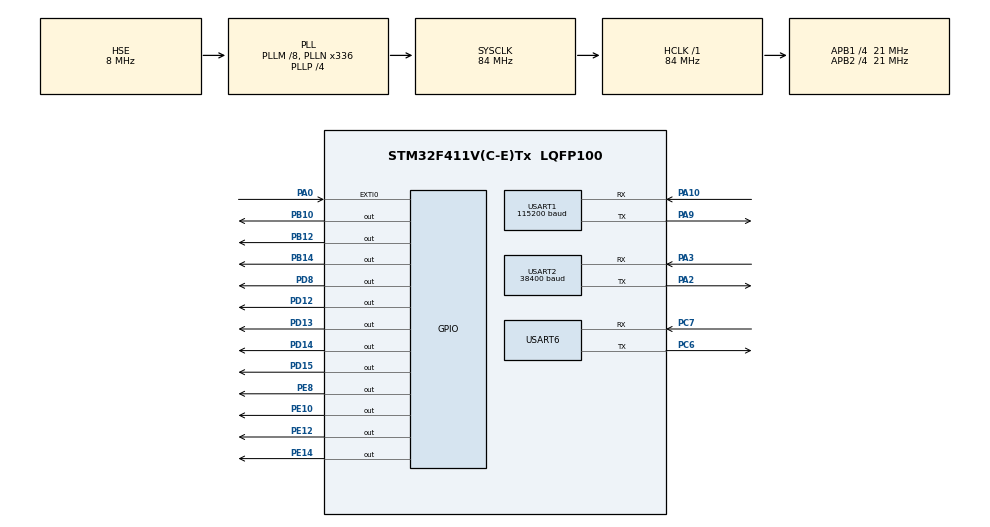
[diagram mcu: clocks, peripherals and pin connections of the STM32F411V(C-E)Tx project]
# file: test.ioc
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Dma.Request0=USART2_RX
Dma.Request1=USART2_TX
Dma.Request2=USART1_RX
Dma.Request3=USART6_RX
Dma.USART1_RX.2.Direction=DMA_PERIPH_TO_MEMORY
Dma.USART1_RX.2.FIFOMode=DMA_FIFOMODE_DISABLE
Dma.USART1_RX.2.Instance=DMA2_Stream2
Dma.USART1_RX.2.MemDataAlignment=DMA_MDATAALIGN_BYTE
Dma.USART1_RX.2.MemInc=DMA_MINC_ENABLE
Dma.USART1_RX.2.Mode=DMA_NORMAL
Dma.USART1_RX.2.PeriphDataAlignment=DMA_PDATAALIGN_BYTE
Dma.USART1_RX.2.PeriphInc=DMA_PINC_DISABLE
Dma.USART1_RX.2.Priority=DMA_PRIORITY_LOW
Dma.USART2_RX.0.Direction=DMA_PERIPH_TO_MEMORY
Dma.USART2_RX.0.FIFOMode=DMA_FIFOMODE_DISABLE
Dma.USART2_RX.0.Instance=DMA1_Stream5
Dma.USART2_RX.0.MemDataAlignment=DMA_MDATAALIGN_BYTE
Dma.USART2_RX.0.MemInc=DMA_MINC_ENABLE
Dma.USART2_RX.0.Mode=DMA_CIRCULAR
Dma.USART2_RX.0.PeriphDataAlignment=DMA_PDATAALIGN_BYTE
Dma.USART2_RX.0.PeriphInc=DMA_PINC_DISABLE
Dma.USART2_RX.0.Priority=DMA_PRIORITY_MEDIUM
Dma.USART2_TX.1.Direction=DMA_MEMORY_TO_PERIPH
Dma.USART2_TX.1.FIFOMode=DMA_FIFOMODE_DISABLE
Dma.USART2_TX.1.Instance=DMA1_Stream6
Dma.USART2_TX.1.MemDataAlignment=DMA_MDATAALIGN_BYTE
Dma.USART2_TX.1.MemInc=DMA_MINC_ENABLE
Dma.USART2_TX.1.Mode=DMA_CIRCULAR
Dma.USART2_TX.1.PeriphDataAlignment=DMA_PDATAALIGN_BYTE
Dma.USART2_TX.1.PeriphInc=DMA_PINC_DISABLE
Dma.USART2_TX.1.Priority=DMA_PRIORITY_LOW
Dma.USART6_RX.3.Direction=DMA_PERIPH_TO_MEMORY
Dma.USART6_RX.3.FIFOMode=DMA_FIFOMODE_DISABLE
Dma.USART6_RX.3.Instance=DMA2_Stream1
Dma.USART6_RX.3.MemDataAlignment=DMA_MDATAALIGN_BYTE
Dma.USART6_RX.3.MemInc=DMA_MINC_ENABLE
Dma.USART6_RX.3.Mode=DMA_NORMAL
Dma.USART6_RX.3.PeriphDataAlignment=DMA_PDATAALIGN_BYTE
Dma.USART6_RX.3.PeriphInc=DMA_PINC_DISABLE
Dma.USART6_RX.3.Priority=DMA_PRIORITY_LOW
Mcu.Family=STM32F4
Mcu.Name=STM32F411V(C-E)Tx
Mcu.Package=LQFP100
NVIC.DMA1_Stream5_IRQn=true\:0\:0\:false\:false\:true\:false
NVIC.DMA1_Stream6_IRQn=true\:0\:0\:false\:false\:true\:false
NVIC.DMA2_Stream1_IRQn=true\:0\:0\:false\:false\:true\:false
NVIC.DMA2_Stream2_IRQn=true\:0\:0\:false\:false\:true\:false
NVIC.EXTI0_IRQn=true\:0\:0\:false\:false\:true\:true
NVIC.PriorityGroup=NVIC_PRIORITYGROUP_4
NVIC.TIM2_IRQn=true\:0\:0\:false\:false\:true\:true
NVIC.USART1_IRQn=true\:0\:0\:false\:false\:true\:true
NVIC.USART2_IRQn=true\:0\:0\:false\:false\:true\:true
NVIC.USART6_IRQn=true\:0\:0\:false\:false\:true\:true
PA0-WKUP.Signal=GPXTI0
PA10.Mode=Asynchronous
PA10.Signal=USART1_RX
PA2.Mode=Asynchronous
PA2.Signal=USART2_TX
PA3.Mode=Asynchronous
PA3.Signal=USART2_RX
PA9.Mode=Asynchronous
PA9.Signal=USART1_TX
PB10.Signal=GPIO_Output
PB12.Signal=GPIO_Output
PB14.Signal=GPIO_Output
PC6.Mode=Asynchronous
PC6.Signal=USART6_TX
PC7.Mode=Asynchronous
PC7.Signal=USART6_RX
PD12.Signal=GPIO_Output
PD13.Signal=GPIO_Output
PD14.Signal=GPIO_Output
PD15.Signal=GPIO_Output
PD8.Signal=GPIO_Output
PE10.Signal=GPIO_Output
PE12.Signal=GPIO_Output
PE14.Signal=GPIO_Output
PE8.Signal=GPIO_Output
PH0\ -\ OSC_IN.Mode=HSE-External-Oscillator
PH0\ -\ OSC_IN.Signal=RCC_OSC_IN
PH1\ -\ OSC_OUT.Mode=HSE-External-Oscillator
PH1\ -\ OSC_OUT.Signal=RCC_OSC_OUT
ProjectManager.HeapSize=0x200
ProjectManager.StackSize=0x400
ProjectManager.TargetToolchain=MDK-ARM V5
RCC.48MHZClocksFreq_Value=84000000
RCC.AHBFreq_Value=84000000
RCC.APB1CLKDivider=RCC_HCLK_DIV4
RCC.APB1Freq_Value=21000000
RCC.APB1TimFreq_Value=42000000
RCC.APB2CLKDivider=RCC_HCLK_DIV4
RCC.APB2Freq_Value=21000000
RCC.APB2TimFreq_Value=42000000
RCC.CortexFreq_Value=84000000
RCC.HCLKFreq_Value=84000000
RCC.HSE_VALUE=8000000
RCC.HSI_VALUE=16000000
RCC.LSE_VALUE=32768
RCC.PLLM=8
RCC.PLLN=336
RCC.PLLP=RCC_PLLP_DIV4
RCC.PLLSourceVirtual=RCC_PLLSOURCE_HSE
RCC.SYSCLKFreq_VALUE=84000000
RCC.SYSCLKSource=RCC_SYSCLKSOURCE_PLLCLK
RCC.VCOOutputFreq_Value=336000000
TIM2.Period=1399
TIM2.Prescaler=59999
USART1.BaudRate=115200
USART1.VirtualMode=VM_ASYNC
USART2.BaudRate=38400
USART2.VirtualMode=VM_ASYNC
USART6.VirtualMode=VM_ASYNC
VP_TIM2_VS_ClockSourceINT.Mode=Internal
board=custom

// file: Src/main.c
/**
  ******************************************************************************
  * @file           : main.c
  * @brief          : Main program body
  ******************************************************************************
  ** This notice applies to any and all portions of this file
  * that are not between comment pairs USER CODE BEGIN and
  * USER CODE END. Other portions of this file, whether
  * inserted by the user or by software development tools
  * are owned by their respective copyright owners.
  *
  * COPYRIGHT(c) 2019 STMicroelectronics
  *
  * Redistribution and use in source and binary forms, with or without modification,
  * are permitted provided that the following conditions are met:
  *   1. Redistributions of source code must retain the above copyright notice,
  *      this list of conditions and the following disclaimer.
  *   2. Redistributions in binary form must reproduce the above copyright notice,
  *      this list of conditions and the following disclaimer in the documentation
  *      and/or other materials provided with the distribution.
  *   3. Neither the name of STMicroelectronics nor the names of its contributors
  *      may be used to endorse or promote products derived from this software
  *      without specific prior written permission.
  *
  * THIS SOFTWARE IS PROVIDED BY THE COPYRIGHT HOLDERS AND CONTRIBUTORS "AS IS"
  * AND ANY EXPRESS OR IMPLIED WARRANTIES, INCLUDING, BUT NOT LIMITED TO, THE
  * IMPLIED WARRANTIES OF MERCHANTABILITY AND FITNESS FOR A PARTICULAR PURPOSE ARE
  * DISCLAIMED. IN NO EVENT SHALL THE COPYRIGHT HOLDER OR CONTRIBUTORS BE LIABLE
  * FOR ANY DIRECT, INDIRECT, INCIDENTAL, SPECIAL, EXEMPLARY, OR CONSEQUENTIAL
  * DAMAGES (INCLUDING, BUT NOT LIMITED TO, PROCUREMENT OF SUBSTITUTE GOODS OR
  * SERVICES; LOSS OF USE, DATA, OR PROFITS; OR BUSINESS INTERRUPTION) HOWEVER
  * CAUSED AND ON ANY THEORY OF LIABILITY, WHETHER IN CONTRACT, STRICT LIABILITY,
  * OR TORT (INCLUDING NEGLIGENCE OR OTHERWISE) ARISING IN ANY WAY OUT OF THE USE
  * OF THIS SOFTWARE, EVEN IF ADVISED OF THE POSSIBILITY OF SUCH DAMAGE.
  *
  ******************************************************************************
  */
#include "main.h"
#include "stm32f4xx_hal.h"

/* USER CODE BEGIN Includes */

#include <stdbool.h>
#include "stdio.h"
#include <stdlib.h>
#include <stdint.h>
#include <math.h>
#include <string.h>
/* USER CODE END Includes */

TIM_HandleTypeDef htim2;

UART_HandleTypeDef huart1;
UART_HandleTypeDef huart2;
UART_HandleTypeDef huart6;
DMA_HandleTypeDef hdma_usart1_rx;
DMA_HandleTypeDef hdma_usart2_rx;
DMA_HandleTypeDef hdma_usart2_tx;
DMA_HandleTypeDef hdma_usart6_rx;

/* USER CODE BEGIN PV */
/* Private variables ---------------------------------------------------------*/
uint16_t vtZ=0,vtG=0,vtG_all=0;
bool volatile Ispressed=false,IsOntime=false, IsAutoMode;
uint8_t send_data=42,receive_dataZ,receive_dataG;
char receiveZ[10000],receiveG[10000],send[10000],receiveG_all[10000],data_server_R[10000],data_server_T[10000],stt_RL[11],thres[30];
/* USER CODE END PV */

void SystemClock_Config(void);
static void MX_GPIO_Init(void);
static void MX_DMA_Init(void);
static void MX_USART2_UART_Init(void);
static void MX_TIM2_Init(void);
static void MX_USART1_UART_Init(void);
static void MX_USART6_UART_Init(void);

/* USER CODE BEGIN PFP */
/* Private function prototypes -----------------------------------------------*/
bool Init_GPRS(__IO uint32_t milis);
bool Get_Method(char url[],char data[],__IO uint32_t milis);
bool Post_Method(char url[],char data[],__IO uint32_t milis);
bool Connect_Server(__IO uint32_t milis);
bool Disconnect_Server(__IO uint32_t milis);
bool Check_str(char a[],char b[], uint16_t v);
bool Cmp_str(char a[],char b[],char stt[]);
bool Cmp_str2(char a[],char b[]);
bool get_Zigbee(char zigbee[],char data[],__IO uint32_t milis);
void Check_Thres(char value[],char thres[],char stt[]);
void Ctrl_RL(char stt[]);
void Error (int msg);
int error_msg=0;
int _Split(char str[],char a,float des[]);
void mem_clear(char a[],char value,int i);
void Getvalue( char a[],char b[]);
/* USER CODE END PFP */

/* USER CODE BEGIN 0 */
void Getvalue(char a[],char b[])
{
	int i=0;
	while(a[i]!='\r')
	{
		b[i] = a[i];
		i++;
	}
	b[i]=0;
}
void Error (int msg)
{
	switch(msg)
	{
		case 1: default:
			Disconnect_Server(500);
		case 2:		case 3:
			Connect_Server(500);
			break;
	}
}
bool Check_str(char a[],char b[], uint16_t v)
{
		for (int i = strlen(b); i > 0; i--)
		{
				if ( a[v-strlen(b)+i-1] != b[i-1]) return false;
		}

		return true;
}
bool Cmp_str(char a[],char b[],char stt[])
{
	bool Isok=false;
	int vt_b=0,vt_stt=0;
	for (int i = 0; i < strlen(a); i++)
		{
				if ( a[i] == b[vt_b]) vt_b++;
				else vt_b=0;
			if (vt_b==strlen(b)) Isok = true;
			if (Isok)
			{
				if(a[i+1]=='\r' && a[i+3]==0) return true;
				stt[vt_stt] = a[i+1];
				vt_stt ++;
			}
		}
	if(Isok) return true;
		else return false;
}
bool Cmp_str2(char a[],char b[])
{
	int vt_b=0,vt_stt=0;
	for (int i = 0; i < strlen(a); i++)
		{
				if ( a[i] == b[vt_b]) vt_b++;
				else vt_b=0;
			if (vt_b==strlen(b)) return true;
		}
	return false;
}
bool Init_GPRS(__IO uint32_t milis)
{
			milis *= (SystemCoreClock / 1000) / 9;
			uint32_t milis_tmp=milis;
			strcpy(send,"AT\r\n");
 	    HAL_UART_Transmit_IT(&huart6,send,strlen(send));
			while (milis--)
			{
				if (Check_str(receiveG,"\r\nOK\r\n",vtG)) break;
				else if (Cmp_str2(receiveG,"ERROR")) {return false;}
//				else if (Cmp_str2(receiveG,"+CME ERROR:50")) {error_msg=1; return false;}
//				else if (Cmp_str2(receiveG,"+CME ERROR:53")) {error_msg=2; return false;}
//				else if (Cmp_str2(receiveG,"+CME ERROR:58")) {error_msg=3; return false;}
			}
			milis=milis_tmp;
			mem_clear(receiveG, 0, 300);
			vtG=0;
			strcpy(send,"ATE0\r\n");
			HAL_UART_Transmit_IT(&huart6,send,strlen(send));
			while (milis--)
			{
				if (Check_str(receiveG,"\r\nOK\r\n",vtG)) break;
			}
			if(++milis<=0) return false;
			mem_clear(receiveG, 0, 300);
			vtG=0;
			return true;
}
bool Connect_Server(__IO uint32_t milis)
{
			milis *= (SystemCoreClock / 1000) / 9;
			strcpy(send,"AT+CIPSTART=\"TCP\",\"1413264.somee.com\",80\r\n");
  	  HAL_UART_Transmit_IT(&huart6,send,strlen(send));
			while (milis--)
			{
				if (Check_str(receiveG,"\r\nOK\r\n",vtG)) break;
				else if (Cmp_str2(receiveG,"ERROR")) {return false;}
			}
			if(++milis<=0) return false;
				mem_clear(receiveG, 0, 300);
				vtG=0;
					HAL_GPIO_WritePin(GPIOD,GPIO_PIN_12,GPIO_PIN_SET);
				return true;
}
bool Disconnect_Server(__IO uint32_t milis)
{
	HAL_GPIO_WritePin(GPIOD,GPIO_PIN_12,GPIO_PIN_RESET);
			milis *= (SystemCoreClock / 1000) / 9;
			strcpy(send,"AT+CIPSHUT\r\n");
  	  HAL_UART_Transmit_IT(&huart6,send,strlen(send));
			while (milis--)
			{
				if (Check_str(receiveG,"\r\nOK\r\n",vtG)) break;
				else if (Cmp_str2(receiveG,"ERROR")) {return false;}
			}
			if(++milis<=0) return false;
			mem_clear(receiveG, 0, 300);
			vtG=0;
			return true;
}
bool Get_Method(char url[],char data[],__IO uint32_t milis)
{
			milis *= (SystemCoreClock / 1000) / 9;
			uint32_t milis_tmp=milis;
			char tmp[200];
			strcpy(tmp," HTTP/1.1\r\nHost: 1413264.somee.com\r\nConnection: Keep-Alive\r\n\r\n\x1A");
		//	strcpy(receiveG_all,"");
	    //vtG_all=0;
			strcpy(send,"AT+CIPSEND\r\n");
  	  HAL_UART_Transmit_IT(&huart6,send,strlen(send));
			while (milis--)
			{
				if (Check_str(receiveG,"> ",vtG)) break;
				else if (Cmp_str2(receiveG,"ERROR")) {return false;}
			}
			if(++milis<=0) return false;
			milis=milis_tmp;
			mem_clear(receiveG, 0, 300);
			vtG=0;
			strcpy(send,"GET ");
			strcat(send,url);
//			strcat(send,"?");
//			strcat(send,data);
			strcat(send,tmp);
			HAL_UART_Transmit_IT(&huart6,send,strlen(send));
			 int vtG_old=0;
			while (milis--)
			{
				if (Cmp_str2(receiveG,"Content-Length: ")) break;
				else if (Cmp_str2(receiveG,"ERROR")) {return false;}
			}
			if(++milis<=0) return false;
			HAL_Delay(5);
			strcpy(data,receiveG);
			mem_clear(receiveG, 0, 300);
			vtG=0;
			return true;
}
bool Post_Method(char url[],char data[],__IO uint32_t milis)
{
			milis *= (SystemCoreClock / 1000) / 9;
			uint32_t milis_tmp=milis;
			char tmp[200];
			strcpy(tmp," HTTP/1.1\r\nHost: 1413264.somee.com\r\nContent-Type: application/x-www-form-urlencoded\r\nConnection: Keep-Alive\r\nContent-Length: ");
			mem_clear(receiveG, 0, 500);
	    vtG=0;
			strcpy(send,"AT+CIPSEND\r\n");
  	  HAL_UART_Transmit_IT(&huart6,send,strlen(send));
			while (milis--)
			{
				if (Check_str(receiveG,"> ",vtG)) break;
				else if (Cmp_str2(receiveG,"ERROR")) {return false;}
			}
			if(++milis<=0) return false;
			milis=milis_tmp;
			mem_clear(receiveG, 0, 500);
			vtG=0;
			strcpy(send,"POST ");
			strcat(send,url);
//			strcat(send,"?");
//			strcat(send,data);
			strcat(send,tmp);
			sprintf(tmp,"%d\r\n\r\n",strlen(data)+4);
			strcat(send,tmp);
			strcat(send,"msg=");
			strcat(send,data);
			strcat(send,"\r\n\x1A");
			HAL_UART_Transmit_IT(&huart6,send,strlen(send));
			while (milis--)
			{
				if (Check_str(receiveG,"\r\n\r\n",vtG)) break;
				else if (Cmp_str2(receiveG,"ERROR")) {return false;}
			}
			if(++milis<=0) return false;
			milis=milis_tmp;

			strcpy(data,receiveG);
			mem_clear(receiveG, 0, 300);
			vtG=0;
	    vtG_all=0;
			return true;
}
int _Split(char str[],char a,float des[])
{
	int vt_des=0,div=1;
	float tmp=0;
	bool Ismul=true;
	for (int i = 0;i<strlen(str);i++)
	{
		if (str[i]==a )
		{
			des[vt_des++]=tmp;
			div=1;
			tmp=0;
		}
		else if(str[i]=='.')
		{
			Ismul=false;
		}
		else
		{
			if(!Ismul)
			{
					div*=10;
				tmp += (float)(str[i]-48)/div;
			}
			else
			{
			tmp=tmp*10+(float)(str[i]-48);
			}
		}
	}
	des[vt_des++]=tmp;
	return vt_des;
}
void Check_Thres(char value[],char thres[],char stt[])
{
	float vl[10];
	float	thrs[10];
	int n;
	n=_Split(value,'@',vl);
	_Split(thres,0x20,thrs);
	for (int i = 0; i<n; i++)
	{
		if (vl[i]<thrs[i]) stt[2*i]='0';
		else stt[2*i]='1';
		if (i<n-1) stt[2*i+1]=0x20;
	}
}
void Ctrl_RL(char stt[])
{
	if (stt[0] == '1')  {RL1_ON;}
	else {RL1_OFF;}
	if (stt[2] == '1')  {RL2_ON;}
	else {RL2_OFF;}
	if (stt[4] == '1')  {RL3_ON;}
	else {RL3_OFF;}
	if (stt[6] == '1')  {RL4_ON;}
	else {RL4_OFF;}
	if (stt[8] == '1') { RL5_ON;}
	else {RL5_OFF;}
	if (stt[10] == '1')  {RL6_ON;}
	else {RL6_OFF;}
//	if (stt[11] == '1') { RL7_ON;}
//	else {RL7_OFF;}
//	if (stt[12] == '1') {RL8_ON;}
//	else {RL8_OFF;}
}
void mem_clear(char a[],char value,int i)
{
	for (int j=0; j< i; j++)
	{
		a[j]=value;
	}
}
bool get_Zigbee(char zigbee[],char data[],__IO uint32_t milis)
{
	milis *= (SystemCoreClock / 1000) / 9;
	HAL_UART_Transmit_IT(&huart2,zigbee,2);
			while (milis--)
			{
				if( Check_str(receiveZ,"\r\n",vtZ)) break;
			}
			if (++milis<=0){return false;}
			milis=50;
			milis *= (SystemCoreClock / 1000) / 9;
			Getvalue(receiveZ,data);
			mem_clear(receiveZ,0,100);
			vtZ=0;
			return true;
}
/* USER CODE END 0 */

int main(void)
	{

  /* MCU Configuration----------------------------------------------------------*/

  /* Reset of all peripherals, Initializes the Flash interface and the Systick. */
  HAL_Init();

  /* Configure the system clock */
  SystemClock_Config();

  /* Initialize all configured peripherals */
  MX_GPIO_Init();
  MX_DMA_Init();
  MX_USART2_UART_Init();
  MX_TIM2_Init();
  MX_USART1_UART_Init();
  MX_USART6_UART_Init();
  /* USER CODE BEGIN 2 */
	HAL_UART_Receive_DMA(&huart2,&receive_dataZ,1);
	HAL_UART_Receive_DMA(&huart6,&receive_dataG,1);
	HAL_TIM_Base_Start_IT(&htim2);
  /* USER CODE END 2 */

  /* Infinite loop */
  /* USER CODE BEGIN WHILE */

	while(Ispressed==false);
	HAL_Delay(1000);
	Init_GPRS(500);
	while(!Connect_Server(500))
	{
				HAL_Delay(100);
		Disconnect_Server(500);
		HAL_Delay(100);
	}
	__IO uint32_t milis=50;
	milis *= (SystemCoreClock / 1000) / 9;
  while (1)
  {

  /* USER CODE END WHILE */

  /* USER CODE BEGIN 3 */
		if(IsOntime)
		{
			IsOntime=false;
			strcpy(data_server_T,"");
			while (!Get_Method("/RL.txt",data_server_R,500))
			{
				HAL_Delay(100);
				Error(error_msg);
			}
			if (Cmp_str(data_server_R,"Manual ",stt_RL)) IsAutoMode = false;
			else IsAutoMode=true;
			mem_clear(data_server_R,0,400);
						HAL_Delay(50);
				while(!get_Zigbee("1@",data_server_T,50));
			//strcpy(receiveZ,"");
//			strcpy(send,"2@");
//			HAL_UART_Transmit_IT(&huart2,send,2);
//			while (!Check_str(receiveZ,"\r\n",vtZ));
//			vtZ=0;
//			strcpy(receiveZ,"");
			strcpy(receiveZ,"@25@500@0.5");

			strcat(data_server_T,receiveZ);
			mem_clear(receiveZ,0,100);
			vtZ=0;
			if (IsAutoMode)
			{
				while (!Get_Method("/TH.txt",data_server_R,500))
				{
					HAL_Delay(100);
					Error(error_msg);

				}
				Cmp_str(data_server_R,"Content-Length: ",thres);
				for (int i =0;i<strlen(thres);i++)
				{
					if ((i+6)>=strlen(thres)) thres[i]=0;
						thres[i]=thres[i+6];
				}
				Check_Thres(data_server_T,thres,stt_RL);
				Ctrl_RL(stt_RL);
				//strcpy(stt_RL,"1 1 0 0 1 1");
				strcat(data_server_T,"@Auto ");
				strcat(data_server_T,stt_RL);
				while(!Post_Method("/Home/CreateDataAll",data_server_T,500))
				{
					HAL_Delay(100);
					Error(error_msg);

				}
			}
			else
			{
				Ctrl_RL(stt_RL);
				while (!Post_Method("/Home/CreateData",data_server_T,500))
					{
					HAL_Delay(100);
					//Ctrl_RL(stt_RL);
					Error(error_msg);
				}
			}
		}
	}
  /* USER CODE END 3 */

}

void SystemClock_Config(void)
{

  RCC_OscInitTypeDef RCC_OscInitStruct;
  RCC_ClkInitTypeDef RCC_ClkInitStruct;

    /**Configure the main internal regulator output voltage
    */
  __HAL_RCC_PWR_CLK_ENABLE();

  __HAL_PWR_VOLTAGESCALING_CONFIG(PWR_REGULATOR_VOLTAGE_SCALE1);

    /**Initializes the CPU, AHB and APB busses clocks
    */
  RCC_OscInitStruct.OscillatorType = RCC_OSCILLATORTYPE_HSE;
  RCC_OscInitStruct.HSEState = RCC_HSE_ON;
  RCC_OscInitStruct.PLL.PLLState = RCC_PLL_ON;
  RCC_OscInitStruct.PLL.PLLSource = RCC_PLLSOURCE_HSE;
  RCC_OscInitStruct.PLL.PLLM = 8;
  RCC_OscInitStruct.PLL.PLLN = 336;
  RCC_OscInitStruct.PLL.PLLP = RCC_PLLP_DIV4;
  RCC_OscInitStruct.PLL.PLLQ = 4;
  if (HAL_RCC_OscConfig(&RCC_OscInitStruct) != HAL_OK)
  {
    _Error_Handler(__FILE__, __LINE__);
  }

    /**Initializes the CPU, AHB and APB busses clocks
    */
  RCC_ClkInitStruct.ClockType = RCC_CLOCKTYPE_HCLK|RCC_CLOCKTYPE_SYSCLK
                              |RCC_CLOCKTYPE_PCLK1|RCC_CLOCKTYPE_PCLK2;
  RCC_ClkInitStruct.SYSCLKSource = RCC_SYSCLKSOURCE_PLLCLK;
  RCC_ClkInitStruct.AHBCLKDivider = RCC_SYSCLK_DIV1;
  RCC_ClkInitStruct.APB1CLKDivider = RCC_HCLK_DIV4;
  RCC_ClkInitStruct.APB2CLKDivider = RCC_HCLK_DIV4;

  if (HAL_RCC_ClockConfig(&RCC_ClkInitStruct, FLASH_LATENCY_2) != HAL_OK)
  {
    _Error_Handler(__FILE__, __LINE__);
  }

    /**Configure the Systick interrupt time
    */
  HAL_SYSTICK_Config(HAL_RCC_GetHCLKFreq()/1000);

    /**Configure the Systick
    */
  HAL_SYSTICK_CLKSourceConfig(SYSTICK_CLKSOURCE_HCLK);

  /* SysTick_IRQn interrupt configuration */
  HAL_NVIC_SetPriority(SysTick_IRQn, 0, 0);
}

/* TIM2 init function */
static void MX_TIM2_Init(void)
{

  TIM_ClockConfigTypeDef sClockSourceConfig;
  TIM_MasterConfigTypeDef sMasterConfig;

  htim2.Instance = TIM2;
  htim2.Init.Prescaler = 59999;
  htim2.Init.CounterMode = TIM_COUNTERMODE_UP;
  htim2.Init.Period = 1399;
  htim2.Init.ClockDivision = TIM_CLOCKDIVISION_DIV1;
  if (HAL_TIM_Base_Init(&htim2) != HAL_OK)
  {
    _Error_Handler(__FILE__, __LINE__);
  }

  sClockSourceConfig.ClockSource = TIM_CLOCKSOURCE_INTERNAL;
  if (HAL_TIM_ConfigClockSource(&htim2, &sClockSourceConfig) != HAL_OK)
  {
    _Error_Handler(__FILE__, __LINE__);
  }

  sMasterConfig.MasterOutputTrigger = TIM_TRGO_RESET;
  sMasterConfig.MasterSlaveMode = TIM_MASTERSLAVEMODE_DISABLE;
  if (HAL_TIMEx_MasterConfigSynchronization(&htim2, &sMasterConfig) != HAL_OK)
  {
    _Error_Handler(__FILE__, __LINE__);
  }

}

/* USART1 init function */
static void MX_USART1_UART_Init(void)
{

  huart1.Instance = USART1;
  huart1.Init.BaudRate = 115200;
  huart1.Init.WordLength = UART_WORDLENGTH_8B;
  huart1.Init.StopBits = UART_STOPBITS_1;
  huart1.Init.Parity = UART_PARITY_NONE;
  huart1.Init.Mode = UART_MODE_TX_RX;
  huart1.Init.HwFlowCtl = UART_HWCONTROL_NONE;
  huart1.Init.OverSampling = UART_OVERSAMPLING_16;
  if (HAL_UART_Init(&huart1) != HAL_OK)
  {
    _Error_Handler(__FILE__, __LINE__);
  }

}

/* USART2 init function */
static void MX_USART2_UART_Init(void)
{

  huart2.Instance = USART2;
  huart2.Init.BaudRate = 38400;
  huart2.Init.WordLength = UART_WORDLENGTH_8B;
  huart2.Init.StopBits = UART_STOPBITS_1;
  huart2.Init.Parity = UART_PARITY_NONE;
  huart2.Init.Mode = UART_MODE_TX_RX;
  huart2.Init.HwFlowCtl = UART_HWCONTROL_NONE;
  huart2.Init.OverSampling = UART_OVERSAMPLING_16;
  if (HAL_UART_Init(&huart2) != HAL_OK)
  {
    _Error_Handler(__FILE__, __LINE__);
  }

}

/* USART6 init function */
static void MX_USART6_UART_Init(void)
{

  huart6.Instance = USART6;
  huart6.Init.BaudRate = 115200;
  huart6.Init.WordLength = UART_WORDLENGTH_8B;
  huart6.Init.StopBits = UART_STOPBITS_1;
  huart6.Init.Parity = UART_PARITY_NONE;
  huart6.Init.Mode = UART_MODE_TX_RX;
  huart6.Init.HwFlowCtl = UART_HWCONTROL_NONE;
  huart6.Init.OverSampling = UART_OVERSAMPLING_16;
  if (HAL_UART_Init(&huart6) != HAL_OK)
  {
    _Error_Handler(__FILE__, __LINE__);
  }

}

static void MX_DMA_Init(void)
{
  /* DMA controller clock enable */
  __HAL_RCC_DMA1_CLK_ENABLE();
  __HAL_RCC_DMA2_CLK_ENABLE();

  /* DMA interrupt init */
  /* DMA1_Stream5_IRQn interrupt configuration */
  HAL_NVIC_SetPriority(DMA1_Stream5_IRQn, 0, 0);
  HAL_NVIC_EnableIRQ(DMA1_Stream5_IRQn);
  /* DMA1_Stream6_IRQn interrupt configuration */
  HAL_NVIC_SetPriority(DMA1_Stream6_IRQn, 0, 0);
  HAL_NVIC_EnableIRQ(DMA1_Stream6_IRQn);
  /* DMA2_Stream1_IRQn interrupt configuration */
  HAL_NVIC_SetPriority(DMA2_Stream1_IRQn, 0, 0);
  HAL_NVIC_EnableIRQ(DMA2_Stream1_IRQn);
  /* DMA2_Stream2_IRQn interrupt configuration */
  HAL_NVIC_SetPriority(DMA2_Stream2_IRQn, 0, 0);
  HAL_NVIC_EnableIRQ(DMA2_Stream2_IRQn);

}

/** Configure pins as
        * Analog
        * Input
        * Output
        * EVENT_OUT
        * EXTI
*/
static void MX_GPIO_Init(void)
{

  GPIO_InitTypeDef GPIO_InitStruct;

  /* GPIO Ports Clock Enable */
  __HAL_RCC_GPIOH_CLK_ENABLE();
  __HAL_RCC_GPIOA_CLK_ENABLE();
  __HAL_RCC_GPIOE_CLK_ENABLE();
  __HAL_RCC_GPIOB_CLK_ENABLE();
  __HAL_RCC_GPIOD_CLK_ENABLE();
  __HAL_RCC_GPIOC_CLK_ENABLE();

  /*Configure GPIO pin Output Level */
  HAL_GPIO_WritePin(GPIOE, GPIO_PIN_8|GPIO_PIN_10|GPIO_PIN_12|GPIO_PIN_14, GPIO_PIN_RESET);

  /*Configure GPIO pin Output Level */
  HAL_GPIO_WritePin(GPIOB, GPIO_PIN_10|GPIO_PIN_12|GPIO_PIN_14, GPIO_PIN_RESET);

  /*Configure GPIO pin Output Level */
  HAL_GPIO_WritePin(GPIOD, GPIO_PIN_8|GPIO_PIN_12|GPIO_PIN_13|GPIO_PIN_14
                          |GPIO_PIN_15, GPIO_PIN_RESET);

  /*Configure GPIO pin : PA0 */
  GPIO_InitStruct.Pin = GPIO_PIN_0;
  GPIO_InitStruct.Mode = GPIO_MODE_IT_RISING;
  GPIO_InitStruct.Pull = GPIO_NOPULL;
  HAL_GPIO_Init(GPIOA, &GPIO_InitStruct);

  /*Configure GPIO pins : PE8 PE10 PE12 PE14 */
  GPIO_InitStruct.Pin = GPIO_PIN_8|GPIO_PIN_10|GPIO_PIN_12|GPIO_PIN_14;
  GPIO_InitStruct.Mode = GPIO_MODE_OUTPUT_PP;
  GPIO_InitStruct.Pull = GPIO_NOPULL;
  GPIO_InitStruct.Speed = GPIO_SPEED_FREQ_LOW;
  HAL_GPIO_Init(GPIOE, &GPIO_InitStruct);

  /*Configure GPIO pins : PB10 PB12 PB14 */
  GPIO_InitStruct.Pin = GPIO_PIN_10|GPIO_PIN_12|GPIO_PIN_14;
  GPIO_InitStruct.Mode = GPIO_MODE_OUTPUT_PP;
  GPIO_InitStruct.Pull = GPIO_NOPULL;
  GPIO_InitStruct.Speed = GPIO_SPEED_FREQ_LOW;
  HAL_GPIO_Init(GPIOB, &GPIO_InitStruct);

  /*Configure GPIO pins : PD8 PD12 PD13 PD14
                           PD15 */
  GPIO_InitStruct.Pin = GPIO_PIN_8|GPIO_PIN_12|GPIO_PIN_13|GPIO_PIN_14
                          |GPIO_PIN_15;
  GPIO_InitStruct.Mode = GPIO_MODE_OUTPUT_PP;
  GPIO_InitStruct.Pull = GPIO_NOPULL;
  GPIO_InitStruct.Speed = GPIO_SPEED_FREQ_LOW;
  HAL_GPIO_Init(GPIOD, &GPIO_InitStruct);

  /* EXTI interrupt init*/
  HAL_NVIC_SetPriority(EXTI0_IRQn, 0, 0);
  HAL_NVIC_EnableIRQ(EXTI0_IRQn);

}

/* USER CODE BEGIN 4 */
void HAL_UART_RxCpltCallback(UART_HandleTypeDef *huart)
{
	if(huart->Instance==huart2.Instance)
	{
	//	HAL_UART_Receive_IT(&huart2,&data_dieukhien,1);
		HAL_UART_Receive_IT(&huart2,&receive_dataZ,1);
		receiveZ[vtZ]= receive_dataZ;
		vtZ++;
	}
		if(huart->Instance==huart6.Instance)
	{
	//	HAL_UART_Receive_IT(&huart2,&data_dieukhien,1);
		HAL_UART_Receive_IT(&huart6,&receive_dataG,1);
		receiveG[vtG]= receive_dataG;
	//	receiveG_all[vtG_all]= receive_dataG;
		vtG++;
//vtG_all++;
	}
}
void HAL_TIM_PeriodElapsedCallback(TIM_HandleTypeDef *htim)
{
  /* Prevent unused argument(s) compilation warning */
  if(htim->Instance==htim2.Instance)
	{

		IsOntime=true;
	}
  /* NOTE : This function Should not be modified, when the callback is needed,
            the __HAL_TIM_PeriodElapsedCallback could be implemented in the user file
   */
}
void HAL_GPIO_EXTI_Callback(uint16_t GPIO_Pin)
{
  Ispressed = true;
	while(HAL_GPIO_ReadPin(GPIOA,GPIO_PIN_0));
}
/* USER CODE END 4 */

void _Error_Handler(char *file, int line)
{
  while(1)
  {
  }
}

/************************ (C) COPYRIGHT STMicroelectronics *****END OF FILE****/
